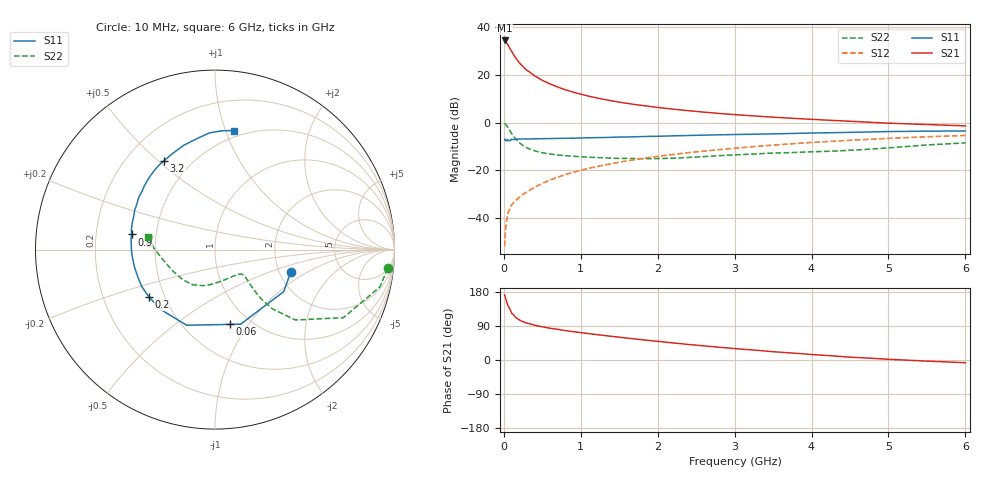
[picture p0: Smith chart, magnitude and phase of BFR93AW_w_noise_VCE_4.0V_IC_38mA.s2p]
! Infineon Technologies  Discrete & RF Semiconductors
! BFR93AW
! VCE =  4.0 V,  IC =  38 mA
! Common Emitter S-Parameters:  Jan 2017
# GHz  S  MA  R  50
!  f  S11  S21  S12  S22
! GHz  MAG  ANG  MAG  ANG  MAG  ANG  MAG  ANG
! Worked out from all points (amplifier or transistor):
!   77 points, 10 MHz to 6 GHz, reference 50 ohm
!   highest |S21| = 34.4 dB at 10 MHz (marker M1)
!   |S21| within 3 dB of that: start of sweep to 73.51 MHz
!   unconditionally stable (mu >= 1): 492.7 MHz to 2.067 GHz
!   at 130 MHz: K = 0.59, MSG = 30.8 dB, |S12| = -33.3 dB
!   at 2.2 GHz: K = 0.99, MSG = 9.5 dB, |S12| = -13.3 dB
!   at 6 GHz: K = 0.89, MSG = 2.0 dB, |S12| = -5.4 dB
!   lowest NFmin = 1.99 dB at 450 MHz
!   S11 on the Smith chart (normalised r, x): 10 MHz: 2.32, -0.70; 60 MHz: 0.81, -0.82; 200 MHz: 0.41, -0.27; 900 MHz: 0.36, +0.08; 3.2 GHz: 0.36, +0.52; 6 GHz: 0.44, +1.07
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0.01  0.4404 -16.1  52.5 171.7  0.0026 80.2  0.9673 -6.2
0.02  0.4487 -31.4  51.56 164.3  0.0051 83.1  0.9425 -12.7
0.05  0.4395 -71.0  43.62 144.5  0.0123 67.0  0.8092 -28.0
0.06  0.4249 -78.7  40.78 141.5  0.0136 65.6  0.7637 -30.0
0.1  0.4499 -110.5  31.09 124.1  0.0189 61.9  0.5949 -41.2
0.15  0.4502 -132.1  23.06 112.9  0.0234 59.5  0.4607 -45.9
0.2  0.4531 -144.5  18.05 105.9  0.0271 62.1  0.3813 -46.8
0.25  0.4567 -153.2  14.79 100.8  0.0318 63.4  0.3314 -46.4
0.3  0.4563 -159.4  12.47 97.3  0.0355 64.4  0.2965 -45.5
0.4  0.4593 -167.9  9.536 91.7  0.0443 67.6  0.2573 -43.7
0.5  0.4619 -174.2  7.683 87.5  0.0536 69.5  0.2344 -42.4
0.6  0.465 -179.1  6.457 83.9  0.0632 69.9  0.2203 -41.9
0.7  0.4679 176.8  5.558 80.8  0.0721 71.3  0.2105 -41.8
0.9  0.4722 169.7  4.349 74.9  0.0911 71.0  0.1981 -43.7
1.1  0.4823 163.8  3.601 69.8  0.1105 70.7  0.1898 -46.8
1.5  0.4996 153.5  2.69 60.2  0.1487 68.5  0.1785 -56.6
2.1  0.5234 140.3  1.997 47.2  0.2063 63.9  0.1784 -77.9
3.1  0.5675 121.5  1.436 28.6  0.3008 54.5  0.2149 -111.5
3.2  0.5708 119.7  1.4 27.1  0.3102 53.5  0.2183 -114.4
4.1  0.6104 105.0  1.151 13.2  0.3934 44.1  0.248 -140.7
5.1  0.6532 91.3  0.963 1.0  0.4759 32.9  0.3051 -172.4
6  0.6714 81.0  0.855 -7.2  0.5394 22.9  0.3779 169.2
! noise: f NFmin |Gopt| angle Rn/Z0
0.45  1.99  0.22  179  0.16
0.9  2.27  0.28  -171  0.17
1.9  3.33  0.52  -133  0.34
2.4  4.02  0.56  -123  0.63
